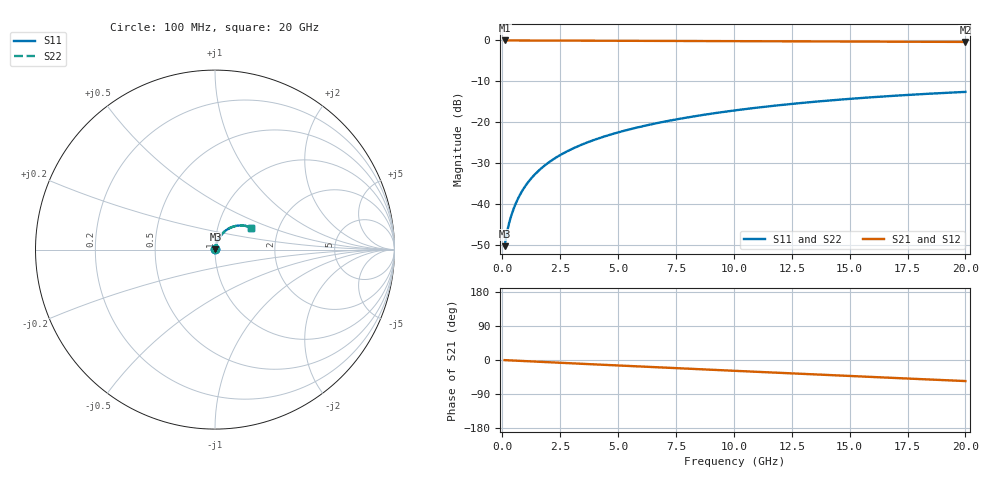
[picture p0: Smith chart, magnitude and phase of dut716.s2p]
! Touchstone file exported from HFSS 2026.1.0
!  File:  C:/ffzhzh/LocalFiles/Ansys_Project_Files/temp_train_TMRDL_716_1783154694_22436.aedt
!  Generated:  04:46:11 PM Jul  4, 2026
!  Design:  TMRDL
!  Project:  temp_train_TMRDL_716_1783154694_22436
! Variables:
!  h_bsmrdl = 2um
!  h_ox = 20um
!  h_rdl = 5um
!  h_sub = 80um
!  h_tmrdl = 5.94um
!  h_tsv = 80um
!  h_via = 3um
!  l_bsmrdl = 300um
!  l_sub = 1360.06um
!  l_tmrdl = 960.06um
!  m_sub = 200um
!  pitch = 43.02um
!  r_tsv = 6um
!  s_tmrdl = 10um
!  w_bsmrdl = 18um
!  w_sub = 500um
!  w_tmrdl = 28.87um
!  x_tsv_center1 = 974.495um
!  x_tsv_center2 = 1292.495um
!  x_tsv_center3 = 2281.425um
!  x_tsv_center4 = 2599.425um
!  x_tsv_center5 = 3588.355um
!  x_tsv_center6 = 3906.355um
# GHz S MA R 50.000000
! Terminal data exported
! Port[1] = TM_RDL1_1_T1
! Port[2] = TM_RDL1_1_T2
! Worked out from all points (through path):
!   200 points, 100 MHz to 20 GHz, reference 50 ohm
!   highest |S21| = -0.02 dB at 100 MHz (marker M1); lowest = -0.4 dB at 20 GHz (marker M2)
!   group delay of S21, straight-line fit = 7.7 ps
!   lowest |S11| = -50.2 dB at 100 MHz (marker M3), VSWR 1.01, Z = 50.2 + j0.204 ohm
!   |S11| at or under -10 dB: start of sweep to end of sweep
!   |S22| runs from -50.2 to -12.6 dB; largest |S21 - S12| = 4.5e-14
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0.1  0.003085 41.0  0.9977 -0.3  0.9977 -0.3  0.003085 41.0
! Gamma 0 0 0 0
! Port Impedance 50 0 50 0
0.2  0.004549 54.2  0.9974 -0.6  0.9974 -0.6  0.004549 54.2
0.3  0.005989 61.3  0.9972 -0.9  0.9972 -0.9  0.005989 61.3
0.4  0.007461 65.9  0.9971 -1.2  0.9971 -1.2  0.007461 65.9
0.5  0.008971 69.0  0.997 -1.5  0.997 -1.5  0.008971 69.0
0.6  0.01051 71.2  0.9969 -1.8  0.9969 -1.8  0.01051 71.2
0.8  0.01363 73.9  0.9967 -2.4  0.9967 -2.4  0.01363 73.9
1.1  0.01836 75.8  0.9963 -3.3  0.9963 -3.3  0.01836 75.7
1.3  0.02151 76.2  0.9961 -3.9  0.9961 -3.9  0.02151 76.2
1.6  0.02619 76.4  0.9956 -4.7  0.9956 -4.7  0.02619 76.4
2.1  0.03386 75.9  0.9948 -6.2  0.9948 -6.2  0.03386 75.9
2.7  0.04283 74.8  0.9936 -7.9  0.9936 -7.9  0.04283 74.8
3.5  0.05443 73.0  0.9921 -10.2  0.9921 -10.2  0.05443 73.0
4.2  0.06431 71.4  0.9907 -12.2  0.9907 -12.2  0.06432 71.4
5  0.07536 69.5  0.9892 -14.5  0.9892 -14.5  0.07536 69.5
5.9  0.08751 67.3  0.9874 -17.0  0.9874 -17.0  0.08751 67.3
6.8  0.09939 65.1  0.9856 -19.5  0.9856 -19.5  0.0994 65.1
8.4  0.1198 61.1  0.9824 -24.0  0.9824 -24.0  0.1198 61.1
10.1  0.1405 56.8  0.9787 -28.7  0.9787 -28.7  0.1406 56.7
13.4  0.1773 48.3  0.9714 -37.8  0.9714 -37.8  0.1773 48.2
16.7  0.209 39.7  0.9641 -46.8  0.9641 -46.8  0.209 39.7
20  0.2351 31.2  0.9573 -55.6  0.9573 -55.6  0.2351 31.2
